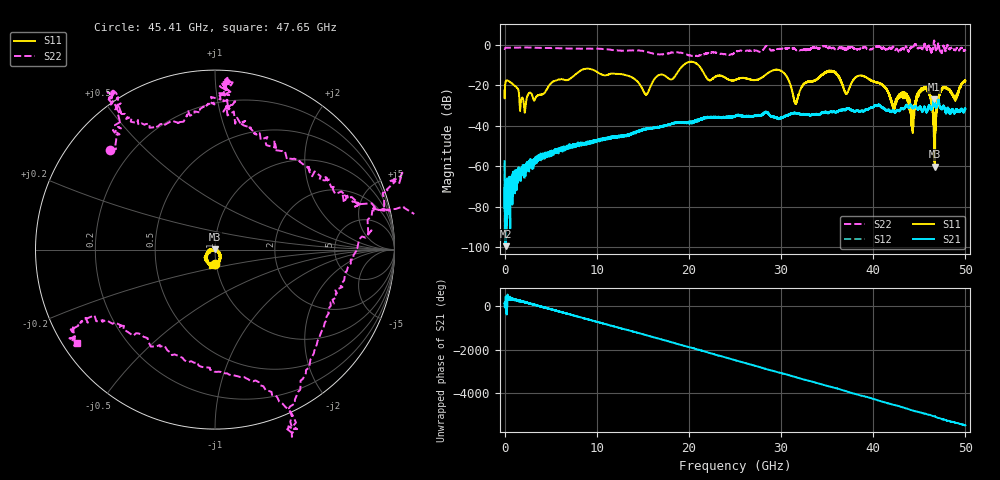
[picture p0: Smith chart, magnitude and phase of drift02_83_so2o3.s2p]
!Created with skrf (http://scikit-rf.org).
# Hz S RI R 50.0
!freq ReS11 ImS11 ReS21 ImS21 ReS12 ImS12 ReS22 ImS22
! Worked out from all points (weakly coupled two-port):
!   10001 points, 300 kHz to 50 GHz, reference 50 ohm
!   highest |S21| = -26.91 dB at 46.6 GHz (marker M1); lowest = -99.5 dB at 110.3 MHz (marker M2)
!   lowest |S11| = -60.2 dB at 46.68 GHz (marker M3), VSWR 1.00, Z = 50 + j0.0944 ohm
!   |S11| at or under -10 dB: start of sweep to 19.42 GHz; 21.00428 GHz to 21.0078 GHz (3.527 MHz wide, 0.0168 % of centre); 21.01 GHz to end of sweep
!   |S22| runs from -5.7 to 2.1 dB; largest |S21 - S12| = 0.0039
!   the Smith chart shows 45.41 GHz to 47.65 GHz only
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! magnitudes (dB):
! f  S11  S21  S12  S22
! 300 kHz  -22.5  -57.6  -58.6  -2.0
! 110.3 MHz  -18.1  -99.5  -75.5  -1.5
! 2.185 GHz  -33.5  -62.2  -61.2  -1.3
! 8.335 GHz  -12.5  -49.1  -49.7  -1.9
! 15.34 GHz  -24.6  -41.7  -41.8  -3.3
! 16.67 GHz  -15.1  -40.8  -40.9  -4.7
! 20.3 GHz  -8.4  -38.0  -38.5  -5.5
! 25 GHz  -17.4  -35.2  -35.2  -3.8
! 29.83 GHz  -12.5  -36.2  -36.5  -2.0
! 31.6 GHz  -28.8  -33.6  -33.9  -2.5
! 33.34 GHz  -18.1  -34.3  -34.5  -1.5
! 35.6 GHz  -13.0  -33.4  -33.3  -1.6
! 37.1 GHz  -24.2  -31.9  -31.7  -2.1
! 38.76 GHz  -15.3  -32.7  -32.6  -0.9
! 41.67 GHz  -23.9  -32.1  -32.2  -1.9
! 43.52 GHz  -25.2  -30.2  -30.8  -1.1
! 44.25 GHz  -39.4  -31.0  -31.1  -1.3
! 45.74 GHz  -21.2  -33.0  -32.7  -1.4
! 46.6 GHz  -44.6  -26.9  -26.8  1.9
! 46.68 GHz  -60.2  -29.0  -28.8  0.1
! 47.47 GHz  -21.8  -31.6  -31.5  -3.3
! 50 GHz  -17.8  -31.7  -31.4  -2.6
